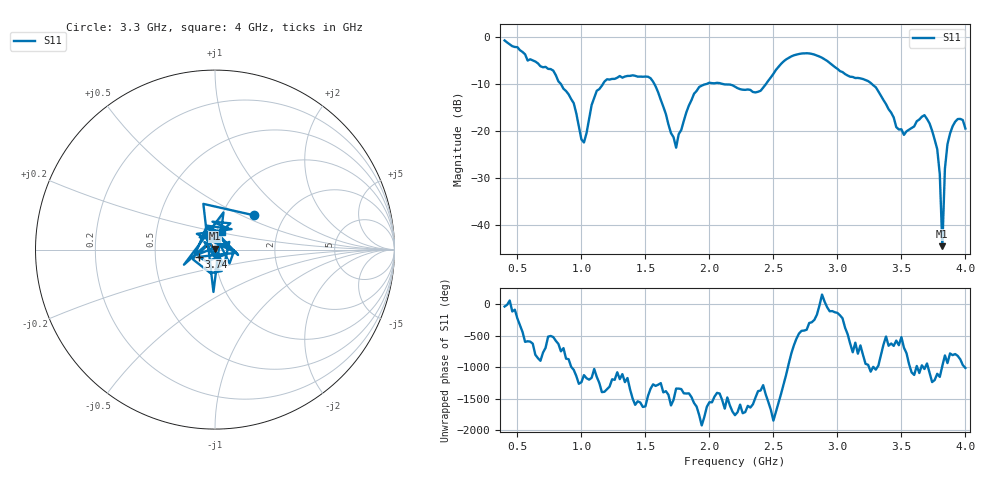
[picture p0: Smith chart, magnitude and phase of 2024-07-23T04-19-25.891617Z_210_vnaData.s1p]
!Created with skrf (http://scikit-rf.org).
# Hz S RI R 50.0
!freq ReS11 ImS11
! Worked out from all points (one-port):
!   181 points, 400 MHz to 4 GHz, reference 50 ohm
!   lowest |S11| = -44.5 dB at 3.82 GHz (marker M1), VSWR 1.01, Z = 49.9 + j0.581 ohm
!   |S11| at or under -10 dB: 1.569 GHz to 1.981 GHz (412 MHz wide, 23.2 % of centre); 2.099 GHz to 2.443 GHz (343.8 MHz wide, 15.1 % of centre); 3.268 GHz to end of sweep (the widest 3 of 4)
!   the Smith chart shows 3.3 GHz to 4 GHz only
!   S11 on the Smith chart (normalised r, x): 3.3 GHz: 1.42, +0.59; 3.74 GHz: 0.83, -0.07; 4 GHz: 1.06, +0.21
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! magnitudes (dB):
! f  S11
! 400 MHz  -0.8
! 780 MHz  -7.2
! 860 MHz  -11.0
! 940 MHz  -14.1
! 1.02 GHz  -22.5
! 1.12 GHz  -11.5
! 1.3 GHz  -8.3
! 1.54 GHz  -8.8
! 1.74 GHz  -23.6
! 1.76 GHz  -20.7
! 1.92 GHz  -10.7
! 2.2 GHz  -10.6
! 2.4 GHz  -11.5
! 2.66 GHz  -3.9
! 2.82 GHz  -3.8
! 3.1 GHz  -8.5
! 3.3 GHz  -10.7
! 3.46 GHz  -19.2
! 3.56 GHz  -19.7
! 3.68 GHz  -16.7
! 3.74 GHz  -20.0
! 3.78 GHz  -23.9
! 3.8 GHz  -29.2
! 3.82 GHz  -44.5
! 3.84 GHz  -28.1
! 3.86 GHz  -22.8
! 3.94 GHz  -17.5
! 4 GHz  -19.5
